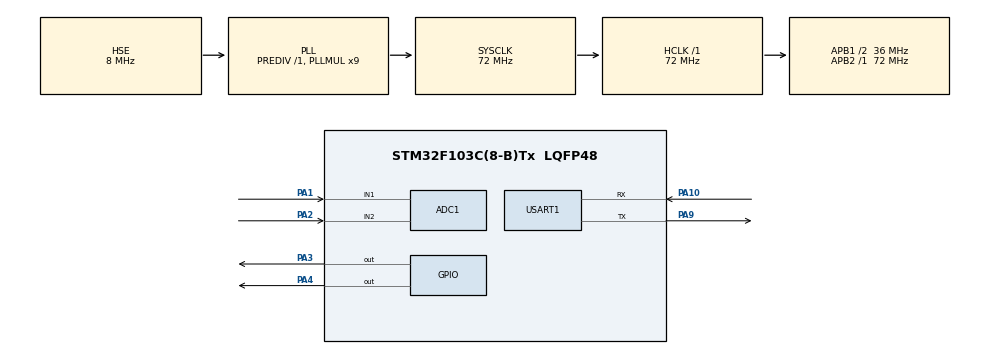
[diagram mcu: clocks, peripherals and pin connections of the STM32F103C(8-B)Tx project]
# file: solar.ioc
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ADC1.Channel-0\#ChannelRegularConversion=ADC_CHANNEL_1
ADC1.Channel-1\#ChannelRegularConversion=ADC_CHANNEL_2
ADC1.ContinuousConvMode=ENABLE
ADC1.NbrOfConversion=2
ADC1.NbrOfConversionFlag=1
ADC1.Rank-0\#ChannelRegularConversion=1
ADC1.Rank-1\#ChannelRegularConversion=2
ADC1.SamplingTime-0\#ChannelRegularConversion=ADC_SAMPLETIME_55CYCLES_5
ADC1.SamplingTime-1\#ChannelRegularConversion=ADC_SAMPLETIME_55CYCLES_5
ADC1.master=1
Dma.ADC1.0.Direction=DMA_PERIPH_TO_MEMORY
Dma.ADC1.0.Instance=DMA1_Channel1
Dma.ADC1.0.MemDataAlignment=DMA_MDATAALIGN_HALFWORD
Dma.ADC1.0.MemInc=DMA_MINC_ENABLE
Dma.ADC1.0.Mode=DMA_CIRCULAR
Dma.ADC1.0.PeriphDataAlignment=DMA_PDATAALIGN_HALFWORD
Dma.ADC1.0.PeriphInc=DMA_PINC_DISABLE
Dma.ADC1.0.Priority=DMA_PRIORITY_LOW
Dma.Request0=ADC1
Dma.Request1=USART1_RX
Dma.USART1_RX.1.Direction=DMA_PERIPH_TO_MEMORY
Dma.USART1_RX.1.Instance=DMA1_Channel5
Dma.USART1_RX.1.MemDataAlignment=DMA_MDATAALIGN_BYTE
Dma.USART1_RX.1.MemInc=DMA_MINC_ENABLE
Dma.USART1_RX.1.Mode=DMA_NORMAL
Dma.USART1_RX.1.PeriphDataAlignment=DMA_PDATAALIGN_BYTE
Dma.USART1_RX.1.PeriphInc=DMA_PINC_DISABLE
Dma.USART1_RX.1.Priority=DMA_PRIORITY_LOW
Mcu.Family=STM32F1
Mcu.Name=STM32F103C(8-B)Tx
Mcu.Package=LQFP48
NVIC.DMA1_Channel1_IRQn=true\:0\:0\:false\:false\:true\:false\:true\:true
NVIC.DMA1_Channel5_IRQn=true\:0\:0\:false\:false\:true\:false\:true\:true
NVIC.PriorityGroup=NVIC_PRIORITYGROUP_4
NVIC.TIM2_IRQn=true\:0\:0\:false\:false\:true\:true\:true\:true
PA1.Signal=ADCx_IN1
PA10.Mode=Asynchronous
PA10.Signal=USART1_RX
PA13.Mode=Serial_Wire
PA13.Signal=SYS_JTMS-SWDIO
PA14.Mode=Serial_Wire
PA14.Signal=SYS_JTCK-SWCLK
PA2.Signal=ADCx_IN2
PA3.GPIO_PuPd=GPIO_PULLUP
PA3.Signal=GPIO_Output
PA4.Signal=GPIO_Output
PA9.Mode=Asynchronous
PA9.Signal=USART1_TX
PC14-OSC32_IN.Mode=LSE-External-Oscillator
PC14-OSC32_IN.Signal=RCC_OSC32_IN
PC15-OSC32_OUT.Mode=LSE-External-Oscillator
PC15-OSC32_OUT.Signal=RCC_OSC32_OUT
PD0-OSC_IN.Mode=HSE-External-Oscillator
PD0-OSC_IN.Signal=RCC_OSC_IN
PD1-OSC_OUT.Mode=HSE-External-Oscillator
PD1-OSC_OUT.Signal=RCC_OSC_OUT
ProjectManager.HeapSize=0x200
ProjectManager.StackSize=0x400
ProjectManager.TargetToolchain=CMake
RCC.ADCPresc=RCC_ADCPCLK2_DIV6
RCC.AHBFreq_Value=72000000
RCC.APB1CLKDivider=RCC_HCLK_DIV2
RCC.APB1Freq_Value=36000000
RCC.APB1TimFreq_Value=72000000
RCC.APB2Freq_Value=72000000
RCC.APB2TimFreq_Value=72000000
RCC.EnbaleCSS=true
RCC.HCLKFreq_Value=72000000
RCC.PLLMUL=RCC_PLL_MUL9
RCC.PLLSourceVirtual=RCC_PLLSOURCE_HSE
RCC.SYSCLKFreq_VALUE=72000000
RCC.SYSCLKSource=RCC_SYSCLKSOURCE_PLLCLK
RCC.USBFreq_Value=72000000
SH.ADCx_IN1.0=ADC1_IN1,IN1
SH.ADCx_IN2.0=ADC1_IN2,IN2
TIM2.AutoReloadPreload=TIM_AUTORELOAD_PRELOAD_ENABLE
TIM2.Period=1000
TIM2.Prescaler=36000
USART1.VirtualMode=VM_ASYNC
VP_TIM2_VS_ClockSourceINT.Mode=Internal
board=custom

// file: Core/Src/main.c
/* USER CODE BEGIN Header */
/**
  ******************************************************************************
  * @file           : main.c
  * @brief          : Main program body
  ******************************************************************************
  * @attention
  *
  * Copyright (c) 2025 STMicroelectronics.
  * All rights reserved.
  *
  * This software is licensed under terms that can be found in the LICENSE file
  * in the root directory of this software component.
  * If no LICENSE file comes with this software, it is provided AS-IS.
  *
  ******************************************************************************
  */
/* USER CODE END Header */
#include "main.h"

/* USER CODE BEGIN Includes */
#include "utils.h"
#include "esp_utils.h"

#include <stdio.h>
#include <string.h>
/* USER CODE END Includes */

ADC_HandleTypeDef hadc1;
DMA_HandleTypeDef hdma_adc1;

TIM_HandleTypeDef htim2;

UART_HandleTypeDef huart1;
DMA_HandleTypeDef hdma_usart1_rx;

void SystemClock_Config(void);
static void MX_GPIO_Init(void);
static void MX_DMA_Init(void);
static void MX_ADC1_Init(void);
static void MX_TIM2_Init(void);
static void MX_USART1_UART_Init(void);

int main(void)
{

  /* USER CODE BEGIN 1 */

  uint8_t uart_buf[512];
  uint8_t tcp_retry = 0; // TCP重连次数
  uint8_t wifi_retry = 0;
  /* USER CODE END 1 */

  /* MCU Configuration--------------------------------------------------------*/

  /* Reset of all peripherals, Initializes the Flash interface and the Systick. */
  HAL_Init();

  /* Configure the system clock */
  SystemClock_Config();

  /* Initialize all configured peripherals */
  MX_GPIO_Init();
  MX_DMA_Init();
  MX_ADC1_Init();
  MX_TIM2_Init();
  MX_USART1_UART_Init();
  /* USER CODE BEGIN 2 */
  int res = ESP_Init();
  switch(res) {
    case 0:{
      Global_Stat = Normal;
      break;
    }
    case 1:
    case 2:
    case 3:
    case 5: {
      Error_Handler();
      break;
    }
    case 4: {
      Global_Stat = WIFI_Disconnected;
      break;
    }
    case 6: {
      Global_Stat = TCP_Disconnected;
      break;
    }
    default:{
      Error_Handler();
      break;
    }
  }

  extern uint8_t adc_buf[ADC_BUF_SIZE];
  HAL_TIM_Base_Start_IT(&htim2);
  // 第三个参数Length是数据数量
  HAL_ADC_Start_DMA(&hadc1, (uint32_t*)adc_buf, 2);
  /* USER CODE END 2 */

  /* Infinite loop */
  while (1)
  {

    /* USER CODE BEGIN 3 */
    switch (Global_Stat) {

      case Normal: {
        memset(uart_buf, 0, 512);
        if (HAL_UART_Receive_DMA(&huart1, uart_buf, 512) != HAL_OK)
          Error_Handler();

        while(__HAL_UART_GET_FLAG(&huart1, UART_FLAG_IDLE) == 0);
        HAL_UART_DMAStop(&huart1);

        Handle_Message(uart_buf, 512);
        break;
      }

      case TCP_Disconnected: { // TCP断开，尝试重�??
        // TCP断开的原因可能是WIFI断开了，同时，在重连的过程中WIFI有可能断�??
        if (ESP_Check_WIFI_Status() != 2) {
          Global_Stat = WIFI_Disconnected;
          break;
        }

        ESP_TCP_Connect((uint8_t*)"192.168.137.1", 13, 1502);
        HAL_Delay(2000);

        if (ESP_TCP_Check_Status() == 0) {
          Global_Stat = Normal;
          tcp_retry = 0;
        }

        tcp_retry++;
        tcp_retry %= 16;
        HAL_Delay(2 * tcp_retry * 1000); // 重试次数越多，间隔越长，�??大为32s
        break;
      }

      case WIFI_Disconnected:{ // WIFI断开，等待ESP模块重连
        if (ESP_Check_WIFI_Status() == 2) {
          wifi_retry = 0;
          Global_Stat = TCP_Disconnected;
        }

        wifi_retry++;
        wifi_retry %= 16;
        HAL_Delay(4 * wifi_retry * 1000); // 重试次数越多，间隔越长，�??大为64s
      }
    }

  }
  /* USER CODE END 3 */
}

void SystemClock_Config(void)
{
  RCC_OscInitTypeDef RCC_OscInitStruct = {0};
  RCC_ClkInitTypeDef RCC_ClkInitStruct = {0};
  RCC_PeriphCLKInitTypeDef PeriphClkInit = {0};

  /** Initializes the RCC Oscillators according to the specified parameters
  * in the RCC_OscInitTypeDef structure.
  */
  RCC_OscInitStruct.OscillatorType = RCC_OSCILLATORTYPE_HSE;
  RCC_OscInitStruct.HSEState = RCC_HSE_ON;
  RCC_OscInitStruct.HSEPredivValue = RCC_HSE_PREDIV_DIV1;
  RCC_OscInitStruct.HSIState = RCC_HSI_ON;
  RCC_OscInitStruct.PLL.PLLState = RCC_PLL_ON;
  RCC_OscInitStruct.PLL.PLLSource = RCC_PLLSOURCE_HSE;
  RCC_OscInitStruct.PLL.PLLMUL = RCC_PLL_MUL9;
  if (HAL_RCC_OscConfig(&RCC_OscInitStruct) != HAL_OK)
  {
    Error_Handler();
  }

  /** Initializes the CPU, AHB and APB buses clocks
  */
  RCC_ClkInitStruct.ClockType = RCC_CLOCKTYPE_HCLK|RCC_CLOCKTYPE_SYSCLK
                              |RCC_CLOCKTYPE_PCLK1|RCC_CLOCKTYPE_PCLK2;
  RCC_ClkInitStruct.SYSCLKSource = RCC_SYSCLKSOURCE_PLLCLK;
  RCC_ClkInitStruct.AHBCLKDivider = RCC_SYSCLK_DIV1;
  RCC_ClkInitStruct.APB1CLKDivider = RCC_HCLK_DIV2;
  RCC_ClkInitStruct.APB2CLKDivider = RCC_HCLK_DIV1;

  if (HAL_RCC_ClockConfig(&RCC_ClkInitStruct, FLASH_LATENCY_2) != HAL_OK)
  {
    Error_Handler();
  }
  PeriphClkInit.PeriphClockSelection = RCC_PERIPHCLK_ADC;
  PeriphClkInit.AdcClockSelection = RCC_ADCPCLK2_DIV6;
  if (HAL_RCCEx_PeriphCLKConfig(&PeriphClkInit) != HAL_OK)
  {
    Error_Handler();
  }

  /** Enables the Clock Security System
  */
  HAL_RCC_EnableCSS();
}

static void MX_ADC1_Init(void)
{

  ADC_ChannelConfTypeDef sConfig = {0};

  /** Common config
  */
  hadc1.Instance = ADC1;
  hadc1.Init.ScanConvMode = ADC_SCAN_ENABLE;
  hadc1.Init.ContinuousConvMode = ENABLE;
  hadc1.Init.DiscontinuousConvMode = DISABLE;
  hadc1.Init.ExternalTrigConv = ADC_SOFTWARE_START;
  hadc1.Init.DataAlign = ADC_DATAALIGN_RIGHT;
  hadc1.Init.NbrOfConversion = 2;
  if (HAL_ADC_Init(&hadc1) != HAL_OK)
  {
    Error_Handler();
  }

  /** Configure Regular Channel
  */
  sConfig.Channel = ADC_CHANNEL_1;
  sConfig.Rank = ADC_REGULAR_RANK_1;
  sConfig.SamplingTime = ADC_SAMPLETIME_55CYCLES_5;
  if (HAL_ADC_ConfigChannel(&hadc1, &sConfig) != HAL_OK)
  {
    Error_Handler();
  }

  /** Configure Regular Channel
  */
  sConfig.Channel = ADC_CHANNEL_2;
  sConfig.Rank = ADC_REGULAR_RANK_2;
  if (HAL_ADC_ConfigChannel(&hadc1, &sConfig) != HAL_OK)
  {
    Error_Handler();
  }

}

static void MX_TIM2_Init(void)
{

  TIM_ClockConfigTypeDef sClockSourceConfig = {0};
  TIM_MasterConfigTypeDef sMasterConfig = {0};

  /* USER CODE BEGIN TIM2_Init 1 */
  // 系统频率:72MHz，定时器时钟:8MHz，默�??????:8ms(8 * 8000)
  /* USER CODE END TIM2_Init 1 */
  htim2.Instance = TIM2;
  htim2.Init.Prescaler = 36000;
  htim2.Init.CounterMode = TIM_COUNTERMODE_UP;
  htim2.Init.Period = 1000;
  htim2.Init.ClockDivision = TIM_CLOCKDIVISION_DIV1;
  htim2.Init.AutoReloadPreload = TIM_AUTORELOAD_PRELOAD_ENABLE;
  if (HAL_TIM_Base_Init(&htim2) != HAL_OK)
  {
    Error_Handler();
  }
  sClockSourceConfig.ClockSource = TIM_CLOCKSOURCE_INTERNAL;
  if (HAL_TIM_ConfigClockSource(&htim2, &sClockSourceConfig) != HAL_OK)
  {
    Error_Handler();
  }
  sMasterConfig.MasterOutputTrigger = TIM_TRGO_RESET;
  sMasterConfig.MasterSlaveMode = TIM_MASTERSLAVEMODE_DISABLE;
  if (HAL_TIMEx_MasterConfigSynchronization(&htim2, &sMasterConfig) != HAL_OK)
  {
    Error_Handler();
  }

}

static void MX_USART1_UART_Init(void)
{

  huart1.Instance = USART1;
  huart1.Init.BaudRate = 115200;
  huart1.Init.WordLength = UART_WORDLENGTH_8B;
  huart1.Init.StopBits = UART_STOPBITS_1;
  huart1.Init.Parity = UART_PARITY_NONE;
  huart1.Init.Mode = UART_MODE_TX_RX;
  huart1.Init.HwFlowCtl = UART_HWCONTROL_NONE;
  huart1.Init.OverSampling = UART_OVERSAMPLING_16;
  if (HAL_UART_Init(&huart1) != HAL_OK)
  {
    Error_Handler();
  }

}

static void MX_DMA_Init(void)
{

  /* DMA controller clock enable */
  __HAL_RCC_DMA1_CLK_ENABLE();

  /* DMA interrupt init */
  /* DMA1_Channel1_IRQn interrupt configuration */
  HAL_NVIC_SetPriority(DMA1_Channel1_IRQn, 0, 0);
  HAL_NVIC_EnableIRQ(DMA1_Channel1_IRQn);
  /* DMA1_Channel5_IRQn interrupt configuration */
  HAL_NVIC_SetPriority(DMA1_Channel5_IRQn, 0, 0);
  HAL_NVIC_EnableIRQ(DMA1_Channel5_IRQn);

}

static void MX_GPIO_Init(void)
{
  GPIO_InitTypeDef GPIO_InitStruct = {0};

  /* GPIO Ports Clock Enable */
  __HAL_RCC_GPIOC_CLK_ENABLE();
  __HAL_RCC_GPIOD_CLK_ENABLE();
  __HAL_RCC_GPIOA_CLK_ENABLE();

  /*Configure GPIO pin Output Level */
  HAL_GPIO_WritePin(GPIOA, GPIO_PIN_3|GPIO_PIN_4, GPIO_PIN_RESET);

  /*Configure GPIO pin : PA3 */
  GPIO_InitStruct.Pin = GPIO_PIN_3;
  GPIO_InitStruct.Mode = GPIO_MODE_OUTPUT_PP;
  GPIO_InitStruct.Pull = GPIO_PULLUP;
  GPIO_InitStruct.Speed = GPIO_SPEED_FREQ_LOW;
  HAL_GPIO_Init(GPIOA, &GPIO_InitStruct);

  /*Configure GPIO pin : PA4 */
  GPIO_InitStruct.Pin = GPIO_PIN_4;
  GPIO_InitStruct.Mode = GPIO_MODE_OUTPUT_PP;
  GPIO_InitStruct.Pull = GPIO_NOPULL;
  GPIO_InitStruct.Speed = GPIO_SPEED_FREQ_LOW;
  HAL_GPIO_Init(GPIOA, &GPIO_InitStruct);

}

void Error_Handler(void)
{
  /* USER CODE BEGIN Error_Handler_Debug */
  /* User can add his own implementation to report the HAL error return state */
  __disable_irq();
  HAL_GPIO_WritePin(GPIOA,GPIO_PIN_3,GPIO_PIN_SET);
  while (1)
  {
  }
  /* USER CODE END Error_Handler_Debug */
}
